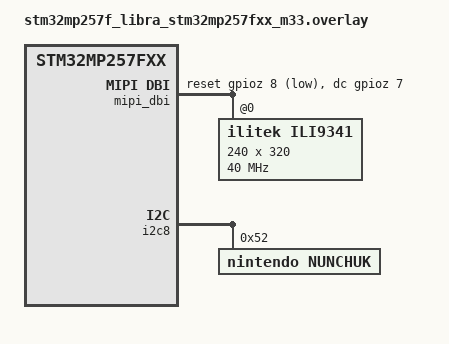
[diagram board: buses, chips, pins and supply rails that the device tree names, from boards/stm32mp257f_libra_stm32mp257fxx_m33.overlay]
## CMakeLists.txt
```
cmake_minimum_required(VERSION 3.28.0)
# Copyright (c) 2020 STMicroelectronics
#
# SPDX-License-Identifier: Apache-2.0
#

find_package(Zephyr REQUIRED HINTS $ENV{ZEPHYR_BASE})

project(demo_openamp)

target_include_directories(app PRIVATE ${LIBMETAL_INCLUDE_DIR} ${OPENAMP_INCLUDE_DIR} ${PLATFORM_DIR})

FILE(GLOB app_sources src/*.c)
target_sources(app PRIVATE ${app_sources})
```

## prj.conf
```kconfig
# CONFIG_KERNEL_BIN_NAME="zephyr_openamp_demo_libra"
CONFIG_PRINTK=y
CONFIG_IPM=y
CONFIG_MAIN_STACK_SIZE=1024
CONFIG_HEAP_MEM_POOL_SIZE=1024
CONFIG_OPENAMP=y
CONFIG_OPENAMP_RSC_TABLE_NUM_RPMSG_BUFF=8
CONFIG_OPENAMP_RSC_TABLE=y
CONFIG_OPENAMP_MASTER=n

CONFIG_SHELL=y
CONFIG_SHELL_BACKEND_RPMSG=y

# Test Ecran SPI
CONFIG_SPI=y
CONFIG_DISPLAY=y
CONFIG_I2C=y
CONFIG_INPUT=y
CONFIG_INPUT_NUNCHUK=y
CONFIG_INPUT_NUNCHUK_ACCELERATION=y

# --- GPIO (wake up) ---
CONFIG_GPIO=y

#Led
CONFIG_LED=y
CONFIG_PCA9633=y

CONFIG_I2C_SHELL=y
```

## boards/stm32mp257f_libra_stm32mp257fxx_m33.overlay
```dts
/*
 * Copyright (C) 2025 PHYTEC Messtechnik GmbH
 * Authors: Hong-Ly Ky <h.ky@phytec.fr>
 *          Christophe Parant <c.parant@phytec.fr>
 *          Nicolas Raimundo <n.raimundo@phytec.fr>
 */
 
/delete-node/ &ddr_code;
/delete-node/ &ddr_sys;

#include <zephyr/dt-bindings/display/panel.h>


/ {
   /* Remap to SRAM1 physical address */
   ddr_code: memory0@a043000 {
     reg = <0xa043000 0x1d000>;
     ranges = <0x0 0xa043000 0x1d000>;
     #address-cells = <1>;
     #size-cells = <1>;
   };

   /* Remap to RETRAM physical address */
   ddr_sys: memory1@a080000 {
     reg = <0xa080000 0x1f000>;
     ranges = <0x0 0xa080000 0x1f000>;
     #address-cells = <1>;
     #size-cells = <1>;
   };

  aliases {
 		nunchuk0 = &nunchuk;
 	};
  

	chosen {
		/*
		 * shared memory reserved for the inter-processor communication
		 */
		zephyr,ipc_shm = &ipc_shmem;
		zephyr,ipc = &mailbox;

    	zephyr,display=&ili9341;
	};

	mipi_dbi {
    compatible = "zephyr,mipi-dbi-spi";
		dc-gpios = <&gpioz 7 GPIO_ACTIVE_HIGH>;
		reset-gpios = <&gpioz 8 GPIO_ACTIVE_LOW>;
		write-only;
		#address-cells = <1>;
		#size-cells = <0>;
		spi-dev = <&spi2>;

		ili9341: ili9341@0 {
		    compatible = "ilitek,ili9341";
		    mipi-max-frequency = <40000000>;
		    reg = <0>;
		    width = <240>;
		    height = <320>;
		    rotation = <180>;
		    pixel-format = <PANEL_PIXEL_FORMAT_RGB_565>;
		    h-mirror;
    };
  };

	ipc_shmem: memory1@81200000 {
		compatible = "mmio-sram";
		reg = <0x81200000 DT_SIZE_M(1)>;
	};
};


&i2c8 {
	status = "okay";
	nunchuk: joystick@52 {
		compatible = "nintendo,nunchuk";
		reg = <0x52>;
		status = "okay";
	};
};
```

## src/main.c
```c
#include <zephyr/kernel.h>
#include <zephyr/logging/log.h>
#include <zephyr/drivers/pinctrl.h>
#include <zephyr/drivers/gpio.h>

#include "rpmsg_platform.h"
#include "display.h"

LOG_MODULE_DECLARE(openamp_rsc_table);

K_THREAD_STACK_DEFINE(thread_mng_stack, APP_TASK_STACK_SIZE);
K_THREAD_STACK_DEFINE(thread_tty_stack, APP_TTY_TASK_STACK_SIZE);

static struct k_thread thread_mng_data;
static struct k_thread thread_tty_data;

int main(void)
{
	LOG_INF("Starting application threads!");
	k_thread_create(&thread_mng_data, thread_mng_stack, APP_TASK_STACK_SIZE,
			rpmsg_mng_task,
			NULL, NULL, NULL, K_PRIO_COOP(8), 0, K_NO_WAIT);
	k_thread_create(&thread_tty_data, thread_tty_stack, APP_TTY_TASK_STACK_SIZE,
			app_rpmsg_tty,
			NULL, NULL, NULL, K_PRIO_COOP(7), 0, K_NO_WAIT);

	k_msleep(500);
	init_screen();
	return 0;
}
```

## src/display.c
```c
#include <zephyr/kernel.h>
#include <zephyr/device.h>
#include <zephyr/drivers/display.h>
#include <zephyr/sys/byteorder.h>
#include <zephyr/drivers/led.h>
#include <zephyr/drivers/gpio.h>

#include <string.h>

#include "display.h"
#include "nunchuk.h"
#include "rpmsg_platform.h"

static const struct device *display_dev;
static const struct device *rgb;

#define W 20
#define H 20

#define RED_LED 0
#define GREEN_LED 1
#define BLUE_LED 2

#define PIN_NODE DT_NODELABEL(gpioa)

static void change_color_led_rgb(int *r,int *g,int *b);

int init()
{
    display_dev = DEVICE_DT_GET(DT_CHOSEN(zephyr_display));

    if (!device_is_ready(display_dev)) {
        printk("Display non pret\n");
        return 1;
    }

    rgb = DEVICE_DT_GET(DT_ALIAS(rgb_led0));

    if (!device_is_ready(rgb)) {
		printf("PCA9633 not ready\n");
		return -1;
	}

    return 0;
}

int init_screen()
{

    static uint16_t buf_color[W * H];
    struct nunchuk_data_t actual_nunchuk;
    int ret = 0;
    enum joy_state { JOY_CENTER, JOY_LEFT, JOY_RIGHT };
    enum joy_state last = JOY_CENTER;
    bool reset_cube = false;

    if(init()){
        printk("---------- ERROR INIT SCREEN ----------\n");
        return 1;
    }

    static const struct device *gpio_wake_up;
    gpio_wake_up = DEVICE_DT_GET(PIN_NODE);

	if (!device_is_ready(gpio_wake_up)) {
		printk("GPIOA pas prêt\n");
	}
	int reaea = gpio_pin_configure(gpio_wake_up, 3, GPIO_OUTPUT_LOW);
	printk("configure PA3: %d\n", reaea);    

    struct display_capabilities caps;

    display_get_capabilities(display_dev,&caps);

	printk("Ecran %ux%u, format=0x%x\n",
	       caps.x_resolution, caps.y_resolution,
	       caps.current_pixel_format);
    
    /// WHITE : Background_color
    uint16_t color = sys_cpu_to_be16(0xFFFF);

    for (int i = 0; i < W * H; i++) {
		buf_color[i] = color;
	}

	struct display_buffer_descriptor desc = {
		.buf_size = sizeof(buf_color),
		.width    = W,
		.height   = H,
		.pitch    = W,
	}; 

	uint16_t x = (caps.x_resolution - W) / 2;
	uint16_t y = (caps.y_resolution - H) / 2;

	for(int bx = 0; bx < caps.x_resolution;bx+=W){
        for(int by = 0; by < caps.y_resolution;by+=H){
            display_write(display_dev,bx,by,&desc,buf_color);
        }
    }

    color = sys_cpu_to_be16(0x001F);

	for (int i = 0; i < W * H; i++) {
		buf_color[i] = color;
	}

    ret = display_write(display_dev,x+50,y,&desc,buf_color);
    ret = display_write(display_dev,x-50,y,&desc,buf_color);

    display_blanking_off(display_dev);

    int64_t time_start = k_uptime_get();
    int64_t time_now = k_uptime_get();
    int64_t time_rgb = k_uptime_get();

    int r = 100;
    int g = 0;
    int b = 0;
    int z_state= 0;
    int z_previous =0;

    bool awake = true;
    enum joy_state now = JOY_CENTER;
    while(1){

        actual_nunchuk = read_nunchuk();
        z_state = actual_nunchuk.btn_z;

        if((z_state==1) && (z_state != z_previous)){
            if (awake){
                rpmsg_tty_send("SLEEP\n", 6);
                awake = false;
            }else{
        		gpio_pin_set(gpio_wake_up, 3, 1);
        		k_msleep(1000);
        		gpio_pin_set(gpio_wake_up, 3, 0);
                awake=true;
            }
        }

        if (actual_nunchuk.joystick_x < 110) {
            now = JOY_LEFT;
        } else if (actual_nunchuk.joystick_x >= 140) {
            now = JOY_RIGHT;
        } else {
            now = JOY_CENTER;
        }


        if (now != last) {
            if (now == JOY_LEFT) {
                int r = rpmsg_tty_send("LEFT\n", 5);
                if (r < 0) {
                    printk("rpmsg_tty_send failed: %d\n", r);
                }

                color = sys_cpu_to_be16(0xF800);
                reset_cube=true;
                for (int i = 0; i < W * H; i++) {
                    buf_color[i] = color;
	            }

                ret = display_write(display_dev,x-50,y,&desc,buf_color);
                time_start = k_uptime_get();

            } else if (now == JOY_RIGHT) {
                rpmsg_tty_send("RIGHT\n", 6);

                color = sys_cpu_to_be16(0xF800);
                reset_cube=true;
                for (int i = 0; i < W * H; i++) {
                    buf_color[i] = color;
	            }
                ret = display_write(display_dev,x+50,y,&desc,buf_color);
                time_start = k_uptime_get();
                
            }
        }

        if(reset_cube && ((time_now-time_start)>=5 && now != last)) {
            reset_cube=false;
                color = sys_cpu_to_be16(0x001F);

            for (int i = 0; i < W * H; i++) {
                buf_color[i] = color;
            }

            ret = display_write(display_dev,x+50,y,&desc,buf_color);
            ret = display_write(display_dev,x-50,y,&desc,buf_color);
            
        }

        if (time_now-time_rgb>5) {
            change_color_led_rgb(&r,&g,&b);
            led_set_brightness(rgb, RED_LED, r);
            led_set_brightness(rgb, GREEN_LED, g);
            led_set_brightness(rgb, BLUE_LED, b);

            time_rgb = k_uptime_get();
        }
        last = now;
        time_now = k_uptime_get();  
        z_previous=z_state;
        k_msleep(10);
    }

    return 0;
}

static void change_color_led_rgb(int *r, int *g, int *b)
{
    if ((*r == 100) && (*g < 100) && (*b == 0)) {
        (*g)++;
    } else if ((*r > 0) && (*g == 100) && (*b == 0)) {
        (*r)--;
    } else if ((*r == 0) && (*g == 100) && (*b < 100)) {
        (*b)++;
    } else if ((*r == 0) && (*g > 0) && (*b == 100)) {
        (*g)--;
    } else if ((*r < 100) && (*g == 0) && (*b == 100)) {
        (*r)++;
    } else if ((*r == 100) && (*g == 0) && (*b > 0)) {
        (*b)--;
    }
}
```

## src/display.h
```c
#include <zephyr/kernel.h>

int init_screen(void);

#define RED_LED 0
#define GREEN_LED 1
#define BLUE_LED 2
```

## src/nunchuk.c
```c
#include <zephyr/kernel.h>
#include <zephyr/device.h>
#include <zephyr/input/input.h>
#include <zephyr/input/input_nunchuk.h>

#include "nunchuk.h"

static struct nunchuk_data_t nunchuk_state = {130,130,512,512,512,false,false};

static void nunchuk_input_cb(struct input_event *evt, void *user_data)
{
    switch (evt->type) {
    case INPUT_EV_ABS:
        if (evt->code == INPUT_ABS_X) {
            nunchuk_state.joystick_x = evt->value;
        } else if (evt->code == INPUT_ABS_Y) {
            nunchuk_state.joystick_y = evt->value;
        }
        break;

    case INPUT_EV_KEY:
        if (evt->code == INPUT_KEY_Z_NUNCHUK) {
            nunchuk_state.btn_z = evt->value;   
        } else if (evt->code == INPUT_KEY_C_NUNCHUK) {
            nunchuk_state.btn_c = evt->value;
        }
        break;

    case INPUT_EV_DEVICE:
        if (evt->code == INPUT_NUNCHUK_ACCEL_X) {
            nunchuk_state.accel_x = evt->value;
        } else if (evt->code == INPUT_NUNCHUK_ACCEL_Y) {
            nunchuk_state.accel_y = evt->value;
        } else if (evt->code == INPUT_NUNCHUK_ACCEL_Z) {
            nunchuk_state.accel_z = evt->value;
        }
        break;

    default:
        break;
    }
}

INPUT_CALLBACK_DEFINE(DEVICE_DT_GET(DT_ALIAS(nunchuk0)), nunchuk_input_cb, NULL);

struct nunchuk_data_t read_nunchuk(void)
{
    return nunchuk_state;
}
```

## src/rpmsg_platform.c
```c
/*
 * Copyright (c) 2026, PHYTEC
 *
 * SPDX-License-Identifier: Apache-2.0
 */

#include <zephyr/kernel.h>
#include <zephyr/device.h>
#include <zephyr/sys/atomic.h>
#include <zephyr/drivers/ipm.h>
#include <zephyr/logging/log.h>

#include <errno.h>
#include <stdbool.h>
#include <stddef.h>
#include <stdint.h>
#include <string.h>
#include <stdio.h>

#include <metal/sys.h>
#include <metal/io.h>
#include <resource_table.h>
#include <addr_translation.h>

#ifdef CONFIG_SHELL_BACKEND_RPMSG
#include <zephyr/shell/shell_rpmsg.h>
#endif

#include "rpmsg_platform.h"

LOG_MODULE_REGISTER(openamp_rsc_table);

#define SHM_DEVICE_NAME      "shm"

#define TTY_MAX_MSG_LEN      128
#define TTY_RX_QUEUE_LEN     4

#if !DT_HAS_CHOSEN(zephyr_ipc_shm)
#error "Sample requires definition of shared memory for rpmsg"
#endif

#if CONFIG_IPM_MAX_DATA_SIZE > 0
#define IPM_SEND(dev, w, id, d, s) ipm_send(dev, w, id, d, s)
#else
#define IPM_SEND(dev, w, id, d, s) ipm_send(dev, w, id, NULL, 0)
#endif

#define SHM_NODE       DT_CHOSEN(zephyr_ipc_shm)
#define SHM_START_ADDR DT_REG_ADDR(SHM_NODE)
#define SHM_SIZE       DT_REG_SIZE(SHM_NODE)

static const struct device *const ipm_handle =
    DEVICE_DT_GET(DT_CHOSEN(zephyr_ipc));

static metal_phys_addr_t shm_physmap = SHM_START_ADDR;
static metal_phys_addr_t rsc_tab_physmap;

static struct metal_io_region shm_io_data;
static struct metal_io_region rsc_io_data;

static struct metal_io_region *shm_io = &shm_io_data;
static struct metal_io_region *rsc_io = &rsc_io_data;

static struct rpmsg_virtio_device rvdev;

static void *rsc_table;
static struct rpmsg_device *rpdev;

static struct rpmsg_endpoint tty_ept;

static bool tty_ready;

/* Serializes sends and changes of the suspend state. */
K_MUTEX_DEFINE(tty_send_lock);

/* Non-zero while application transmissions are blocked. */
static atomic_t tty_suspended;

static K_SEM_DEFINE(data_sem, 0, 1);

/* Released once the RPMsg device is ready, so the TTY thread can start. */
static K_SEM_DEFINE(data_tty_sem, 0, 1);

/*
 * Messages are copied out of the RPMsg callback so the TTY thread never
 * holds a pointer to a shared OpenAMP buffer.
 */
struct tty_rx_msg {
    size_t len;
    uint8_t data[TTY_MAX_MSG_LEN];
};

K_MSGQ_DEFINE(tty_rx_queue,
              sizeof(struct tty_rx_msg),
              TTY_RX_QUEUE_LEN,
              4);

void rpmsg_tty_set_suspended(bool suspended)
{
    /* Taking the lock waits for any send in progress to complete. */
    k_mutex_lock(&tty_send_lock, K_FOREVER);

    atomic_set(&tty_suspended, suspended ? 1 : 0);

    k_mutex_unlock(&tty_send_lock);

    LOG_INF("RPMsg application TX: %s",
            suspended ? "SUSPENDED" : "ACTIVE");
}

bool rpmsg_tty_is_suspended(void)
{
    return atomic_get(&tty_suspended) != 0;
}

/*
 * When allow_suspended is true, the message is sent even during SUSPEND.
 * This is only meant for the SUSPEND acknowledgment.
 */
static int rpmsg_tty_send_internal(const void *data,
                                   size_t len,
                                   bool allow_suspended)
{
    int ret;

    if (data == NULL && len != 0U) {
        return -EINVAL;
    }

    k_mutex_lock(&tty_send_lock, K_FOREVER);

    if (!allow_suspended && atomic_get(&tty_suspended) != 0) {
        ret = -EAGAIN;
    } else if (!tty_ready ||
               tty_ept.dest_addr == RPMSG_ADDR_ANY) {
        ret = -ENOTCONN;
    } else {
        ret = rpmsg_send(&tty_ept, data, len);
    }

    k_mutex_unlock(&tty_send_lock);

    return ret;
}

/* Public send API: refused with -EAGAIN while suspended. */
int rpmsg_tty_send(const void *data, size_t len)
{
    return rpmsg_tty_send_internal(data, len, false);
}

static void platform_ipm_callback(const struct device *dev,
                                  void *context,
                                  uint32_t id,
                                  volatile void *data)
{
    ARG_UNUSED(dev);
    ARG_UNUSED(context);
    ARG_UNUSED(data);

    LOG_DBG("%s: notification received, id=%u", __func__, id);

    k_sem_give(&data_sem);
}

static int rpmsg_recv_tty_callback(struct rpmsg_endpoint *ept,
                                   void *data,
                                   size_t len,
                                   uint32_t src,
                                   void *priv)
{
    struct tty_rx_msg msg;

    ARG_UNUSED(ept);
    ARG_UNUSED(src);
    ARG_UNUSED(priv);

    if (len > sizeof(msg.data)) {
        LOG_WRN("TTY message too long: %u bytes", (unsigned int)len);
        return RPMSG_SUCCESS;
    }

    msg.len = len;

    if (len > 0U) {
        memcpy(msg.data, data, len);
    }

    if (k_msgq_put(&tty_rx_queue, &msg, K_NO_WAIT) != 0) {
        LOG_WRN("TTY queue full: message dropped");
    }

    return RPMSG_SUCCESS;
}

static void receive_message(void)
{
    int status = k_sem_take(&data_sem, K_FOREVER);

    if (status == 0) {
        rproc_virtio_notified(rvdev.vdev, VRING1_ID);
    }
}

static void new_service_cb(struct rpmsg_device *rdev,
                           const char *name,
                           uint32_t src)
{
    ARG_UNUSED(rdev);
    ARG_UNUSED(src);

    LOG_ERR("%s: unexpected service: %s", __func__, name);
}

int mailbox_notify(void *priv, uint32_t id)
{
    ARG_UNUSED(priv);

    LOG_DBG("%s: notification id=%u", __func__, id);

    IPM_SEND(ipm_handle, 0, id, &id, 4);

    return 0;
}

int platform_init(void)
{
    int rsc_size;
    struct metal_init_params metal_params = METAL_INIT_DEFAULTS;
    int status;

    status = metal_init(&metal_params);

    if (status) {
        LOG_ERR("metal_init failed: %d", status);
        return -1;
    }

    metal_io_init(shm_io,
                  (void *)SHM_START_ADDR,
                  &shm_physmap,
                  SHM_SIZE,
                  -1,
                  0,
                  addr_translation_get_ops(shm_physmap));

    rsc_table_get(&rsc_table, &rsc_size);

    rsc_tab_physmap = (uintptr_t)rsc_table;

    metal_io_init(rsc_io,
                  rsc_table,
                  &rsc_tab_physmap,
                  rsc_size,
                  -1,
                  0,
                  NULL);

    if (!device_is_ready(ipm_handle)) {
        LOG_ERR("IPM device is not ready");
        metal_finish();
        return -1;
    }

    ipm_register_callback(ipm_handle, platform_ipm_callback, NULL);

    status = ipm_set_enabled(ipm_handle, 1);

    if (status) {
        LOG_ERR("ipm_set_enabled failed: %d", status);
        metal_finish();
        return -1;
    }

    return 0;
}

struct rpmsg_device *
platform_create_rpmsg_vdev(unsigned int vdev_index,
                           unsigned int role,
                           void (*rst_cb)(struct virtio_device *vdev),
                           rpmsg_ns_bind_cb ns_cb)
{
    struct fw_rsc_vdev_vring *vring_rsc;
    struct virtio_device *vdev;
    int ret;

    ARG_UNUSED(vdev_index);
    ARG_UNUSED(role);
    ARG_UNUSED(rst_cb);

    vdev = rproc_virtio_create_vdev(VIRTIO_DEV_DEVICE,
                                    VDEV_ID,
                                    rsc_table_to_vdev(rsc_table),
                                    rsc_io,
                                    NULL,
                                    mailbox_notify,
                                    NULL);

    if (!vdev) {
        LOG_ERR("Failed to create vdev");
        return NULL;
    }

    /* Block until the Linux side has finished its initialization. */
    rproc_virtio_wait_remote_ready(vdev);

    vring_rsc = rsc_table_get_vring0(rsc_table);

    ret = rproc_virtio_init_vring(vdev,
                                  0,
                                  vring_rsc->notifyid,
                                  (void *)vring_rsc->da,
                                  rsc_io,
                                  vring_rsc->num,
                                  vring_rsc->align);

    if (ret) {
        LOG_ERR("Failed to initialize vring 0: %d", ret);
        goto failed;
    }

    vring_rsc = rsc_table_get_vring1(rsc_table);

    ret = rproc_virtio_init_vring(vdev,
                                  1,
                                  vring_rsc->notifyid,
                                  (void *)vring_rsc->da,
                                  rsc_io,
                                  vring_rsc->num,
                                  vring_rsc->align);

    if (ret) {
        LOG_ERR("Failed to initialize vring 1: %d", ret);
        goto failed;
    }

    ret = rpmsg_init_vdev(&rvdev, vdev, ns_cb, shm_io, NULL);

    if (ret) {
        LOG_ERR("rpmsg_init_vdev failed: %d", ret);
        goto failed;
    }

    return rpmsg_virtio_get_rpmsg_device(&rvdev);

failed:
    rproc_virtio_remove_vdev(vdev);

    return NULL;
}

static void process_tty_message(const struct tty_rx_msg *rx)
{
    char cmd[TTY_MAX_MSG_LEN + 1];
    size_t cmd_len = rx->len;
    int ret;

    if (cmd_len > TTY_MAX_MSG_LEN) {
        cmd_len = TTY_MAX_MSG_LEN;
    }

    memcpy(cmd, rx->data, cmd_len);
    cmd[cmd_len] = '\0';

    /* Strip the trailing LF/CR added by echo on Linux. */
    while (cmd_len > 0U &&
           (cmd[cmd_len - 1U] == '\n' ||
            cmd[cmd_len - 1U] == '\r')) {
        cmd[--cmd_len] = '\0';
    }

    LOG_INF("[Linux TTY] message received: %s", cmd);

    if (strcmp(cmd, "SUSPEND") == 0) {
        if (rpmsg_tty_is_suspended()) {
            LOG_INF("Already suspended: no reply sent");
            return;
        }

        /* Block application sends before acknowledging. */
        rpmsg_tty_set_suspended(true);

        static const char ack[] = "Go to sleep...\n";

        /* The acknowledgment is the only message allowed while suspended. */
        ret = rpmsg_tty_send_internal(ack, sizeof(ack) - 1U, true);

        if (ret < 0) {
            LOG_ERR("SUSPEND ACK failed: %d", ret);
        }

        return;
    }

    if (strcmp(cmd, "RESUME") == 0) {
        rpmsg_tty_set_suspended(false);

        static const char ack[] = "Zephyr resumed\n";

        ret = rpmsg_tty_send(ack, sizeof(ack) - 1U);

        if (ret < 0) {
            LOG_ERR("RESUME ACK failed: %d", ret);
        }

        return;
    }

    if (rpmsg_tty_is_suspended()) {
        LOG_DBG("Message ignored while suspended");
        return;
    }

    {
        char tx_buff[TTY_MAX_MSG_LEN + 16];
        int prefix_len;

        prefix_len = snprintf(tx_buff,
                              sizeof(tx_buff),
                              "TTY 0x%04x: ",
                              (unsigned int)tty_ept.addr);

        if (prefix_len < 0 ||
            (size_t)prefix_len + rx->len > sizeof(tx_buff)) {
            LOG_ERR("Cannot build TTY echo");
            return;
        }

        /* Echo the original bytes, including any trailing newline. */
        memcpy(&tx_buff[prefix_len], rx->data, rx->len);

        ret = rpmsg_tty_send(tx_buff, (size_t)prefix_len + rx->len);

        if (ret < 0) {
            LOG_ERR("TTY echo failed: %d", ret);
        }
    }

    if (strcmp(cmd, "Hello") == 0) {
        static const char response[] = "Hallo !\n";

        ret = rpmsg_tty_send(response, sizeof(response) - 1U);

        if (ret < 0) {
            LOG_ERR("Failed to send Hallo: %d", ret);
        }
    }
}

void app_rpmsg_tty(void *arg1, void *arg2, void *arg3)
{
    int ret;

    ARG_UNUSED(arg1);
    ARG_UNUSED(arg2);
    ARG_UNUSED(arg3);

    /* rpdev is set by rpmsg_mng_task(); wait until it is ready. */
    k_sem_take(&data_tty_sem, K_FOREVER);

    LOG_INF("OpenAMP[remote] Linux TTY responder started");

    ret = rpmsg_create_ept(&tty_ept,
                           rpdev,
                           "rpmsg-tty",
                           RPMSG_ADDR_ANY,
                           RPMSG_ADDR_ANY,
                           rpmsg_recv_tty_callback,
                           NULL);

    if (ret) {
        LOG_ERR("[Linux TTY] Cannot create endpoint: %d", ret);
        return;
    }

    k_mutex_lock(&tty_send_lock, K_FOREVER);
    tty_ready = true;
    k_mutex_unlock(&tty_send_lock);

    LOG_INF("[Linux TTY] Endpoint created: addr=0x%x", tty_ept.addr);

    while (tty_ept.addr != RPMSG_ADDR_ANY) {
        struct tty_rx_msg rx;

        ret = k_msgq_get(&tty_rx_queue, &rx, K_FOREVER);

        if (ret == 0) {
            process_tty_message(&rx);
        }
    }

    k_mutex_lock(&tty_send_lock, K_FOREVER);
    tty_ready = false;
    k_mutex_unlock(&tty_send_lock);

    rpmsg_destroy_ept(&tty_ept);

    LOG_INF("OpenAMP Linux TTY responder ended");
}

void rpmsg_mng_task(void *arg1, void *arg2, void *arg3)
{
    int ret;

    ARG_UNUSED(arg1);
    ARG_UNUSED(arg2);
    ARG_UNUSED(arg3);

    LOG_INF("OpenAMP[remote] Linux responder demo started");

    ret = platform_init();

    if (ret) {
        LOG_ERR("Platform initialization failed");
        return;
    }

    rpdev = platform_create_rpmsg_vdev(0,
                                       VIRTIO_DEV_DEVICE,
                                       NULL,
                                       new_service_cb);

    if (!rpdev) {
        LOG_ERR("Failed to create RPMsg device");

        ipm_set_enabled(ipm_handle, 0);
        metal_finish();

        return;
    }

#ifdef CONFIG_SHELL_BACKEND_RPMSG
    (void)shell_backend_rpmsg_init_transport(rpdev);
#endif

    k_sem_give(&data_tty_sem);

    /*
     * Keep processing RX notifications at all times, even during SUSPEND:
     * Linux must still be able to send RESUME.
     */
    while (1) {
        receive_message();
    }
}
```

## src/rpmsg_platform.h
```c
#ifndef RPMSG_PLATFORM_H_
#define RPMSG_PLATFORM_H_

#include <zephyr/kernel.h>
#include <openamp/open_amp.h>
#include <stdbool.h>
#include <stddef.h>

#define APP_TASK_STACK_SIZE     (1024)
/* Add 1024 extra bytes for the TTY task stack for the "tx_buff" buffer. */
#define APP_TTY_TASK_STACK_SIZE (1536)

void rpmsg_tty_set_suspended(bool suspended);
bool rpmsg_tty_is_suspended(void);
void app_rpmsg_tty(void *arg1, void *arg2, void *arg3);
void rpmsg_mng_task(void *arg1, void *arg2, void *arg3);
int rpmsg_tty_send(const void *data, size_t len);

#endif /* RPMSG_PLATFORM_H_ */
```
